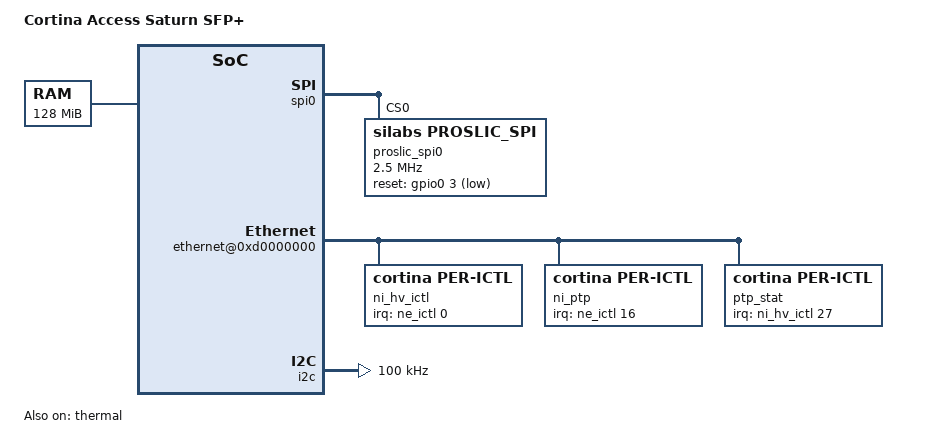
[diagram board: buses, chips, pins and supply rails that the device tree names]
/*
 * dts file for Cortina Access Saturn Development Board
 *
 * Copyright (C) 2016, Cortina Access
 */

/dts-v1/;
#include <dt-bindings/gpio/gpio.h>
#include <dt-bindings/reset/cortina,rst-mgr.h>
#include "saturn_soc.dtsi"
#include "saturn_spinand.dtsi"
#include "saturn_sflash.dtsi"

/* board specific and SoC overrides below */
/ {
	model = "Cortina Access Saturn SFP+";
	#address-cells = <1>;
	#size-cells = <1>;

	memory { /* 128MB */
		device_type = "memory";
		reg = <0x00000000 0x8000000>;
	};
	
	ca_peri{
		compatible = "cortina,ca-peri";
		reg = <0xb2224018 0x1000>,
		      <0xbc100000 0x60>;
		interrupt-parent = <&per_ictl>;
		interrupts = <2>;
		interrupt-names = "TMR1";
	};

	qm_ictl: qm_ictl@bc100094 {     /* QM interrupt */
		compatible = "cortina,per-ictl";
		reg = <0xbc100094  0x8>;
		interrupt-controller;
		#interrupt-cells = <1>;
		interrupt-parent = <&cpuintc>;
		interrupts = <4>;
	};

	lso_fbm_ictl: lso_fbm_ictl@bc100080 {	/* LSO_FBM interrupt */
		status = "disabled";
		reg = <0xbc100084  0x8>;
	};

	dma_ssp_ictl0: dma_ssp_ictl@b400ae08 {     /* DMA_SSP0 interrupt */
		status = "disabled";
		compatible = "cortina,per-ictl";
		reg = <0xb400ae08  0x8>;
		interrupt-controller;
		#interrupt-cells = <1>;
		interrupt-parent = <&lso_fbm_ictl>;
		interrupts = <8>;
	};

	gpio-controller@b2224280 {
		#address-cells = <1>;
		#size-cells = <0>;
		compatible = "cortina,ca77xx-gpio";
		reg = <0xb2224280 0x90>,
		      <0xbc100058 0x10>;
		id = <0>;

		/* bank 0 with an interrupt */
		gpio0: bank@0 {
			gpio-controller;
			interrupt-controller;
			reg = <0>;
			ngpios = <32>;
			#gpio-cells = <2>;
			#interrupt-cells = <2>;
			interrupt-parent = <&per_ictl>;
			interrupts = <6>;
			gpio-ranges = <&pinctrl 0 0 32>;
		};

		/* bank 1 with an interrupt */
		gpio1: bank@1 {
			gpio-controller;
			interrupt-controller;
			reg = <1>;
			ngpios = <32>;
			#gpio-cells = <2>;
			#interrupt-cells = <2>;
			interrupt-parent = <&per_ictl>;
			interrupts = <7>;
			gpio-ranges = <&pinctrl 0 32 32>;
		};

		/* bank 2 without interrupt */
		gpio2: bank@2 {
			gpio-controller;
			interrupt-controller;
			reg = <2>;
			ngpios = <32>;
			#gpio-cells = <2>;
			#interrupt-cells = <2>;
			interrupt-parent = <&per_ictl>;
			interrupts = <8>;
			gpio-ranges = <&pinctrl 0 64 32>;
		};

		/* bank 3 without interrupt */
		gpio3: bank@3 {
			gpio-controller;
			interrupt-controller;
			reg = <3>;
			ngpios = <32>;
			#gpio-cells = <2>;
			#interrupt-cells = <2>;
			interrupt-parent = <&per_ictl>;
			interrupts = <9>;
			gpio-ranges = <&pinctrl 0 96 32>;
		};
	};

	pinctrl: pinctrl@0xbc100050 {
		compatible = "cortina,saturn-pinctrl";
		reg = <0xbc100050 0x18>;

		uart1_default: uart1_active {
			data_signals {
				pins = "GPIO_000", "GPIO_001", "PMUX_003";
				function = "multi-fn";
			};
		};

		sflash4_ctrl_default: sflash4_enable_multi-io {
			data_signals {
				pins = "PMUX_024";
				function = "multi-fn";
			};
		};
	};

	/* Driver for thermal sensor */
	thermal: thermal@bc10017c {
		compatible = "cortina,thermal-sensor";
		reg = <0xbc10017c 0x10>;
		status = "okay";
	};

	spi0: spi@b2224098 {
		compatible = "cortina,ca77xx-spi";
		reg = <0xb2224098 0x40>;
		interrupt-parent = <&per_ictl>;
		interrupts = <5>;
		clocks = <&io_clk>;
		#address-cells = <1>;
		#size-cells = <0>;

#if 1
		/* Si32183: channel_count = 1, with isi, mode spi-cpha
		 * Si32285: channel_count = 2, with isi, mode spi-cpha
		 */
		proslic_spi0: proslic_spi0@0 {
			compatible = "silabs,proslic_spi", "rohm,dh2228fv";
			status = "okay";
			spi-max-frequency = <2500000>;
			isi;
			reg = <0>;
			spi-cpha;
			channel_count = <2>;
			debug_level = <7>;
			reset-gpio = <&gpio0 3 GPIO_ACTIVE_LOW>;
		};
#endif


	};





       /* Reserver memory region for Hash/FBM/NE and etc.
         * Fixme when NE team finalize size and offset
         */
        reserved-memory {
		#address-cells = <1>;
		#size-cells = <1>;

                ranges;

		ddr_cache_reserved: ddr_cache_buffer@0x03c48000 {
                           reg = <0x03c48000 0x2000000>;    /* reserved memory area in DDR $-coherent */
	    };
        };


        ethernet@0xd0000000 {
                compatible = "cortina,ni-interface";

                reg = <0xd0000000 0xa000>,       /* reserved memory area for HV NE(APB0) module registers */
                      <0x4410009c 0x10>,         /* reserved memory area for Global Network Engine Interrupt registers */
                      <0x522240d8 0x48>,         /* reserved memory area for MDIO registers */
                      <0xf4500000 0x2000>,       /* reserved memory area for XRAM */
                      <0xd000a000 0x900>,        /* reserved memory area for DMA LSO */
                      <0x40000000 0x40000>,      /* reserved memory area in SRAM */
                      <0x03c48000 0x2000000>,    /* reserved memory area in DDR $-coherent */
                      <0x02c48000 0x1000000>,    /* reserved memory area in DDR non-$cable, no used in Saturn SFU */
		      <0xd000b000 0x1000>,       /* reserved memory area for internal RTL8211 PHY registers */
                      <0xd000c000 0x2124>,       /* reserved memory area for XFI registers */
		      <0xd000e000 0x40>;         /* reserved memory area for PTP registers */

                interrupt-parent=<&qm_ictl>;
                interrupts=<8>, <9>, <10>, <11>, <12>, <13>, <14>, <15>, <16>, <17>;

                resets = <&block_rst NI_RESET>, <&block_rst L2FE_RESET>, <&block_rst L2TM_RESET>, <&block_rst L3FE_RESET>, <&block_rst SDRAM_RESET>, <&block_rst TQM_RESET>, <&block_rst DMA_RESET>, <&block_rst FBM_RESET>, <&global_cfg EXT_RESET>;
                reset-names = "ni_reset", "l2fe_reset", "l2tm_reset", "l3fe_reset", "sdram_reset", "tqm_reset", "dma_reset", "fbm_reset", "ext_reset";
               memory-region = <&ddr_cache_reserved>;

		dyinggasp-gpio = <&gpio0 1 GPIO_ACTIVE_LOW>;

		eth0: ethernet@0 {
			local-mac-address = [ 00 00 00 00 00 00 ];
		};

		eth1: ethernet@1 {
			local-mac-address = [ 00 00 00 00 00 00 ];
		};

		eth2: ethernet@2 {
			local-mac-address = [ 00 00 00 00 00 00 ];
		};

		eth3: ethernet@3 {
			local-mac-address = [ 00 00 00 00 00 00 ];
		};

		pon: pon_ictl@0 {
			interrupt-controller;
			#interrupt-cells = <1>;
			interrupt-parent = <&vecintc>;
			interrupts = <2>;
			};

		ni_hv_ictl: ni_hv_ictl@0xd000435c {
			compatible = "cortina,per-ictl";
			interrupt-controller;
			interrupt-parent = <&ne_ictl>;
			interrupts = <0>;
		};

		ni_ptp: ni_ptp_ictl@0xd000433c {
			compatible = "cortina,per-ictl";
			interrupt-controller;
			interrupt-parent = <&ne_ictl>;
			interrupts = <16>;
		};

		ptp_stat: ptp_stat_ictl@0xd000433c  {
			compatible = "cortina,per-ictl";
			interrupt-controller;
			interrupt-parent = <&ni_hv_ictl>;
			interrupts = <27>;
		};
        };


i2c: i2c@b2224120  {
                  compatible = "cortina,ca77xx-i2c";
                  reg = <0xb2224120 0x28>;
                  interrupt-parent = <&per_ictl>;
                  interrupts = <11>;
                  device_type = "i2c";
                  clocks = <&io_clk>;
                  clock-frequency = <100000>;
         };

};


